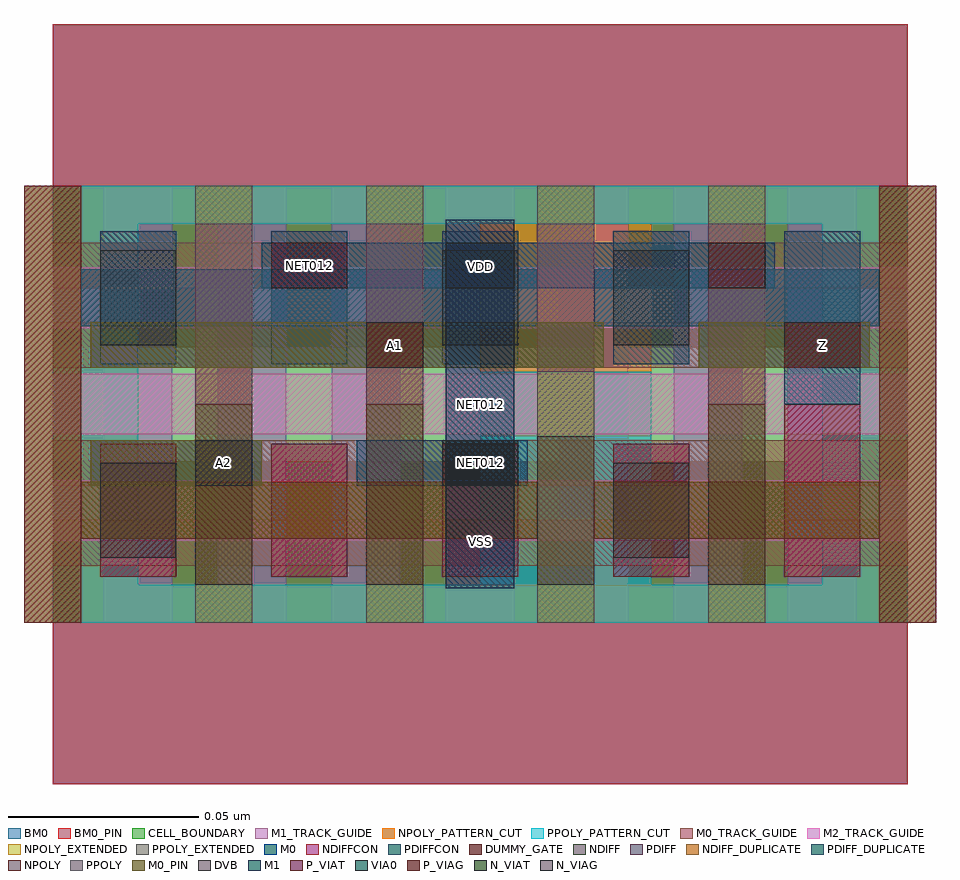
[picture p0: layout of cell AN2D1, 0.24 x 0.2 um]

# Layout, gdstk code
import gdstk
lib = gdstk.Library(unit=1e-6, precision=5e-11)
def R(c, l, rs):  # rectangles x0, y0, x1, y1
    for r in rs: c.add(gdstk.rectangle(r[:2], r[2:], *l))
def A(c, l, x, y, w, h, nx, ny, dx, dy):  # array of equal rectangles
    R(c, l, [(x+i*dx, y+j*dy, x+i*dx+w, y+j*dy+h) for i in range(nx) for j in range(ny)])
def P(c, l, *ps):  # polygons
    for p in ps: c.add(gdstk.Polygon(p, *l))
CELL_BOUNDARY = (1, 0)
NDIFF = (100, 0)
NDIFF_DUPLICATE = (100, 1)
PDIFF = (101, 0)
PDIFF_DUPLICATE = (101, 1)
NPOLY = (102, 0)
NPOLY_EXTENDED = (102, 1)
NPOLY_PATTERN_CUT = (102, 2)
PPOLY = (103, 0)
PPOLY_EXTENDED = (103, 1)
PPOLY_PATTERN_CUT = (103, 2)
NDIFFCON = (104, 0)
PDIFFCON = (105, 0)
P_VIAG = (106, 0)
N_VIAG = (107, 0)
P_VIAT = (108, 0)
N_VIAT = (109, 0)
DVB = (111, 0)
DUMMY_GATE = (121, 0)
M0 = (200, 0)
M0_PIN = (200, 2)
VIA0 = (201, 0)
M1 = (202, 0)
M0_TRACK_GUIDE = (220, 0)
M1_TRACK_GUIDE = (221, 0)
M2_TRACK_GUIDE = (222, 0)
BM0 = (300, 0)
BM0_PIN = (300, 2)

an2d1 = lib.new_cell('AN2D1')
R(an2d1, CELL_BOUNDARY, [(0,0,0.225,0.115)])
R(an2d1, NDIFF, [(0.0075,0.022,0.1275,0.037), (0.1425,0.022,0.2175,0.037)])
R(an2d1, NDIFF_DUPLICATE, [(0.0075,0.022,0.1275,0.037), (0.1425,0.022,0.2175,0.037)])
R(an2d1, PDIFF, [(0.0075,0.078,0.1275,0.093), (0.1425,0.078,0.2175,0.093)])
R(an2d1, PDIFF_DUPLICATE, [(0.0075,0.078,0.1275,0.093), (0.1425,0.078,0.2175,0.093)])
R(an2d1, NPOLY, [(0.0375,0.01,0.0525,0.0575), (0.0825,0.01,0.0975,0.0575), (0.1275,0.01,0.1425,0.049), (0.1725,0.01,0.1875,0.0575)])
A(an2d1, NPOLY_EXTENDED, -0.0075, 0, 0.015, 0.115, 6, 1, 0.045, 0)
R(an2d1, NPOLY_PATTERN_CUT, [(0,0,0.0225,0.115), (0.0225,0,0.2025,0.01), (0.2025,0,0.225,0.115)])
P(an2d1, NPOLY_PATTERN_CUT, [(0.1125,0.105),(0.0225,0.105),(0.0225,0.115),(0.2025,0.115),(0.2025,0.105),(0.1575,0.105),(0.1575,0.049),(0.1125,0.049)])
R(an2d1, PPOLY, [(0.0375,0.0575,0.0525,0.105), (0.0825,0.0575,0.0975,0.105), (0.1725,0.0575,0.1875,0.105), (0.1275,0.066,0.1425,0.105)])
A(an2d1, PPOLY_EXTENDED, -0.0075, 0, 0.015, 0.115, 6, 1, 0.045, 0)
R(an2d1, PPOLY_PATTERN_CUT, [(0,0,0.0225,0.115), (0.2025,0,0.225,0.115), (0.0225,0.105,0.2025,0.115)])
P(an2d1, PPOLY_PATTERN_CUT, [(0.1125,0.01),(0.1125,0.066),(0.1575,0.066),(0.1575,0.01),(0.2025,0.01),(0.2025,0),(0.0225,0),(0.0225,0.01)])
A(an2d1, NDIFFCON, 0.0125, 0.012, 0.02, 0.035, 4, 1, 0.045, 0)
R(an2d1, NDIFFCON, [(0.1925,0.012,0.2125,0.0575)])
A(an2d1, PDIFFCON, 0.0125, 0.068, 0.02, 0.035, 4, 1, 0.045, 0)
R(an2d1, PDIFFCON, [(0.1925,0.0575,0.2125,0.103)])
R(an2d1, P_VIAG, [(0.0825,0.067,0.0975,0.079), (0.1725,0.088,0.1875,0.1)])
R(an2d1, N_VIAG, [(0.0375,0.036,0.0525,0.048)])
R(an2d1, P_VIAT, [(0.1925,0.067,0.2125,0.079), (0.0575,0.088,0.0775,0.1)])
R(an2d1, N_VIAT, [(0.1025,0.036,0.1225,0.048)])
R(an2d1, DVB, [(0.0125,0.017,0.0325,0.042), (0.1475,0.017,0.1675,0.042), (0.0125,0.073,0.0325,0.098), (0.1025,0.073,0.1225,0.098), (0.1475,0.073,0.1675,0.098)])
R(an2d1, DUMMY_GATE, [(-0.0075,0,0.0075,0.115), (0.2175,0,0.2325,0.115)])
R(an2d1, M0, [(0.01,0.036,0.055,0.048), (0.08,0.036,0.125,0.048), (0.01,0.067,0.145,0.079), (0.17,0.067,0.215,0.079), (0.055,0.088,0.19,0.1)])
R(an2d1, M0_PIN, [(0.01,0.036,0.055,0.048), (0.01,0.067,0.145,0.079), (0.17,0.067,0.215,0.079)])
R(an2d1, VIA0, [(0.1035,0.036,0.1215,0.048), (0.1035,0.088,0.1215,0.1)])
R(an2d1, M1, [(0.1035,0.009,0.1215,0.106)])
R(an2d1, M0_TRACK_GUIDE, [(0,0.015,0.225,0.027), (0,0.036,0.225,0.048), (0,0.067,0.225,0.079), (0,0.088,0.225,0.1)])
A(an2d1, M1_TRACK_GUIDE, 0.0135, 0, 0.018, 0.115, 7, 1, 0.03, 0)
A(an2d1, M2_TRACK_GUIDE, 0, 0.0215, 0.225, 0.016, 1, 3, 0, 0.028)
R(an2d1, BM0, [(0,-0.0425,0.225,0.0425), (0,0.0725,0.225,0.1575)])
R(an2d1, BM0_PIN, [(0,-0.0425,0.225,0.0425), (0,0.0725,0.225,0.1575)])
an2d1.add(gdstk.Label('VSS', (0.1125,0.0213), layer=300, texttype=1))
an2d1.add(gdstk.Label('VDD', (0.1125,0.0938), layer=300, texttype=1))
an2d1.add(gdstk.Label('NET012', (0.0675,0.094), layer=200, texttype=1))
an2d1.add(gdstk.Label('A1', (0.09,0.073), layer=200, texttype=1))
an2d1.add(gdstk.Label('Z', (0.2025,0.073), layer=200, texttype=1))
an2d1.add(gdstk.Label('A2', (0.045,0.042), layer=200, texttype=1))
an2d1.add(gdstk.Label('NET012', (0.1125,0.042), layer=200, texttype=1))
an2d1.add(gdstk.Label('NET012', (0.1125,0.0575), layer=202, texttype=1))
an2d1.add(gdstk.Label('VSS', (0.1125,0.0213), layer=300, texttype=3))
an2d1.add(gdstk.Label('VDD', (0.1125,0.0938), layer=300, texttype=3))
an2d1.add(gdstk.Label('A2', (0.045,0.042), layer=200, texttype=3))
an2d1.add(gdstk.Label('A1', (0.09,0.073), layer=200, texttype=3))
an2d1.add(gdstk.Label('Z', (0.2025,0.073), layer=200, texttype=3))

lib.write_gds('AN2D1.gds')
